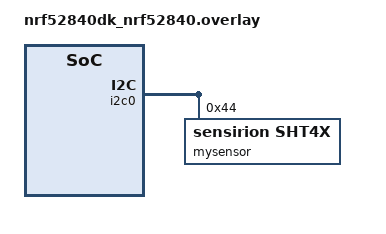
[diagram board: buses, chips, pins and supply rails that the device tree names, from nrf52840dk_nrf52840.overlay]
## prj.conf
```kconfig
# Logging configs
CONFIG_LOG=y

# Bluetooth configs
CONFIG_BT=y
CONFIG_BT_OBSERVER=y
CONFIG_BT_BROADCASTER=y
CONFIG_BT_EXT_ADV=y
CONFIG_BT_PER_ADV_SYNC=y
CONFIG_BT_DEVICE_NAME="Endpoint"

CONFIG_BT_MAX_CONN=1
CONFIG_BT_PERIPHERAL=y
CONFIG_BT_PER_ADV_SYNC_TRANSFER_SENDER=y
CONFIG_BT_PER_ADV_SYNC_TRANSFER_RECEIVER=y

CONFIG_BT_PER_ADV_SYNC_RSP=y
CONFIG_BT_PER_ADV_SYNC_BUF_SIZE=247

# PM (Power Management) configs
CONFIG_PM_DEVICE=y

# Display configs
CONFIG_DISPLAY=y
CONFIG_DISPLAY_LOG_LEVEL_ERR=y

#LVGL configs
CONFIG_LVGL=y
CONFIG_LV_MEM_CUSTOM=y
CONFIG_LV_USE_QRCODE=y
CONFIG_LV_USE_LOG=y
CONFIG_LV_USE_LABEL=y
CONFIG_LV_USE_BTN=y
CONFIG_LV_USE_ARC=y
CONFIG_LV_USE_IMG=y
CONFIG_LV_USE_MONKEY=y
CONFIG_LV_FONT_MONTSERRAT_14=y
CONFIG_LV_FONT_MONTSERRAT_20=y
CONFIG_LV_Z_VDB_SIZE=100
CONFIG_LV_Z_MEM_POOL_SIZE=16384

# Sensor configs
CONFIG_CBPRINTF_FP_SUPPORT=y
CONFIG_I2C=y
CONFIG_SENSOR=y
CONFIG_SHT4X=y
```

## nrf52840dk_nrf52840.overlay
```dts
// To get started, press Ctrl+Space (or Option+Esc) to bring up the completion menu and view the available nodes.

// You can also use the buttons in the sidebar to perform actions on nodes.
// Actions currently available include:

// * Enabling / disabling the node
// * Adding the bus to a bus
// * Removing the node
// * Connecting ADC channels

// For more help, browse the DeviceTree documentation at https://docs.zephyrproject.org/latest/guides/dts/index.html
// You can also visit the nRF DeviceTree extension documentation at https://nrfconnect.github.io/vscode-nrf-connect/devicetree/nrfdevicetree.html

&i2c0 {
    mysensor: sht4x@44 {
        compatible = "sensirion,sht4x";
        repeatability = <2>;
        reg = <0x44>;
    };
};
```

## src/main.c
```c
/*
 * Copyright (c) 2023 Nordic Semiconductor ASA
 *
 * SPDX-License-Identifier: Apache-2.0
 */

#include <zephyr/bluetooth/bluetooth.h>
#include <zephyr/bluetooth/conn.h>
#include <zephyr/bluetooth/gatt.h>
#include <zephyr/bluetooth/uuid.h>
#include <zephyr/sys/util.h>

#include <zephyr/device.h>
#include <zephyr/devicetree.h>
#include <zephyr/drivers/display.h>
#include <zephyr/drivers/gpio.h>
#include <lvgl.h>
#include <stdio.h>
#include <string.h>
#include <zephyr/kernel.h>
#include <lvgl_input_device.h>
#include <zephyr/pm/device.h>

// Sensor-related includes
#include <zephyr/drivers/sensor.h>
#include <zephyr/drivers/sensor/sht4x.h>

static const struct device *sht = DEVICE_DT_GET_ANY(sensirion_sht4x);

typedef struct sensor_data_s
{
    // Temperature value
    struct sensor_value temp;

    // Humidity value
    struct sensor_value humidity;
} sensor_data_t;

static sensor_data_t sensor_data; 

#define LOG_LEVEL CONFIG_LOG_DEFAULT_LEVEL
#include <zephyr/logging/log.h>
LOG_MODULE_REGISTER(app);

#define NAME_LEN 30

static K_SEM_DEFINE(sem_per_adv, 0, 1);
static K_SEM_DEFINE(sem_per_sync, 0, 1);
static K_SEM_DEFINE(sem_per_sync_lost, 0, 1);

static struct bt_conn *default_conn;
static struct bt_le_per_adv_sync *default_sync;
static struct __packed {
	uint8_t subevent;
	uint8_t response_slot;

} pawr_timing;

// Company ID for Novel Bits (used for the manufacturer data)
#define NOVEL_BITS_COMPANY_ID 0x08D3

// Increment this value for each device
#define DEVICE_ID 0x01

// Sensor-related variables
static bool adv_started;

// Advertising data
static const struct bt_data ad[] = {
    BT_DATA_BYTES(BT_DATA_NAME_COMPLETE, 'N', 'o', 'v', 'e', 'l', ' ', 'B', 'i', 't', 's'),
	BT_DATA_BYTES(BT_DATA_MANUFACTURER_DATA,
                  (NOVEL_BITS_COMPANY_ID & 0xFF),
                  ((NOVEL_BITS_COMPANY_ID >> 8) & 0xFF),
                  DEVICE_ID)
};

// Display Power Management
int suspend_display(const struct device *display_dev,
		    const struct device *display_bus_dev)
{
	int ret;

	ret = pm_device_action_run(display_dev, PM_DEVICE_ACTION_SUSPEND);
	if (ret < 0) {
		LOG_ERR("Could not suspend the display");
		return ret;
	}

	ret = pm_device_action_run(display_bus_dev, PM_DEVICE_ACTION_SUSPEND);
	if (ret < 0) {
		LOG_ERR("Could not suspend the display bus");
		return ret;
	}

	return 0;
}

int resume_display(const struct device *display_dev,
		   const struct device *display_bus_dev)
{
	int ret;

	ret = pm_device_action_run(display_dev, PM_DEVICE_ACTION_RESUME);
	if (ret < 0) {
		LOG_ERR("Could not resume the display");
		return ret;
	}

	ret = pm_device_action_run(display_bus_dev, PM_DEVICE_ACTION_RESUME);
	if (ret < 0) {
		LOG_ERR("Could not resume the display bus");
		return ret;
	}

	return 0;
}

void sensor_capture_data(void)
{
    if (sensor_sample_fetch(sht)) {
        printk("Failed to fetch sample from SHT4X device\n");
        return;
    }

    sensor_channel_get(sht, SENSOR_CHAN_AMBIENT_TEMP, &sensor_data.temp);
    sensor_channel_get(sht, SENSOR_CHAN_HUMIDITY, &sensor_data.humidity);
}

static void sync_cb(struct bt_le_per_adv_sync *sync, struct bt_le_per_adv_sync_synced_info *info)
{
	struct bt_le_per_adv_sync_subevent_params params;
	uint8_t subevents[1];
	char le_addr[BT_ADDR_LE_STR_LEN];
	int err;

	bt_addr_le_to_str(info->addr, le_addr, sizeof(le_addr));
	printk("Synced to %s with %d subevents\n", le_addr, info->num_subevents);

	default_sync = sync;

	params.properties = 0;
	params.num_subevents = 1;
	params.subevents = subevents;
	subevents[0] = pawr_timing.subevent;

	err = bt_le_per_adv_sync_subevent(sync, &params);
	if (err) {
		printk("Failed to set subevents to sync to (err %d)\n", err);
	}

	k_sem_give(&sem_per_sync);
}

static void term_cb(struct bt_le_per_adv_sync *sync,
		    const struct bt_le_per_adv_sync_term_info *info)
{
	char le_addr[BT_ADDR_LE_STR_LEN];

	bt_addr_le_to_str(info->addr, le_addr, sizeof(le_addr));

	printk("Sync terminated (reason %d)\n", info->reason);

	default_sync = NULL;

	k_sem_give(&sem_per_sync_lost);
}

static bool print_ad_field(struct bt_data *data, void *user_data)
{
	ARG_UNUSED(user_data);

	printk("    0x%02X: ", data->type);
	for (size_t i = 0; i < data->data_len; i++) {
		printk("%02X", data->data[i]);
	}

	printk("\n");

	return true;
}

int bt_le_per_adv_set_response_data(struct bt_le_per_adv_sync *per_adv_sync,
				    const struct bt_le_per_adv_response_params *params,
				    const struct net_buf_simple *data);

static struct bt_le_per_adv_response_params rsp_params;

NET_BUF_SIMPLE_DEFINE_STATIC(rsp_buf, 247);

static void recv_cb(struct bt_le_per_adv_sync *sync,
		    const struct bt_le_per_adv_sync_recv_info *info, struct net_buf_simple *buf)
{
	int err;

	if (buf && buf->len) {
		/* Echo the data back to the advertiser */
		net_buf_simple_reset(&rsp_buf);
        net_buf_simple_add_mem(&rsp_buf, &sensor_data, sizeof(sensor_data));

		rsp_params.request_event = info->periodic_event_counter;
		rsp_params.request_subevent = info->subevent;

		/* Respond in current subevent and assigned response slot */
		rsp_params.response_subevent = info->subevent;
		rsp_params.response_slot = pawr_timing.response_slot;

		printk("Indication: subevent %d, responding in slot %d\n", info->subevent,
		       pawr_timing.response_slot);
		bt_data_parse(buf, print_ad_field, NULL);

		err = bt_le_per_adv_set_response_data(sync, &rsp_params, &rsp_buf);
		if (err) {
			printk("Failed to send response (err %d)\n", err);
		}
	} else if (buf) {
		printk("Received empty indication: subevent %d\n", info->subevent);
	} else {
		printk("Failed to receive indication: subevent %d\n", info->subevent);
	}
}

static struct bt_le_per_adv_sync_cb sync_callbacks = {
	.synced = sync_cb,
	.term = term_cb,
	.recv = recv_cb,
};

static struct bt_uuid_128 pawr_svc_uuid =
	BT_UUID_INIT_128(BT_UUID_128_ENCODE(0x12345678, 0x1234, 0x5678, 0x1234, 0x56789abcdef0));
static struct bt_uuid_128 pawr_char_uuid =
	BT_UUID_INIT_128(BT_UUID_128_ENCODE(0x12345678, 0x1234, 0x5678, 0x1234, 0x56789abcdef1));

static ssize_t write_timing(struct bt_conn *conn, const struct bt_gatt_attr *attr, const void *buf,
			    uint16_t len, uint16_t offset, uint8_t flags)
{
	if (offset) {
		return BT_GATT_ERR(BT_ATT_ERR_INVALID_OFFSET);
	}

	if (len != sizeof(pawr_timing)) {
		return BT_GATT_ERR(BT_ATT_ERR_INVALID_ATTRIBUTE_LEN);
	}

	memcpy(&pawr_timing, buf, len);

	printk("New timing: subevent %d, response slot %d\n", pawr_timing.subevent,
	       pawr_timing.response_slot);

	struct bt_le_per_adv_sync_subevent_params params;
	uint8_t subevents[1];
	int err;

	params.properties = 0;
	params.num_subevents = 1;
	params.subevents = subevents;
	subevents[0] = pawr_timing.subevent;

	if (default_sync) {
		err = bt_le_per_adv_sync_subevent(default_sync, &params);
		if (err) {
			printk("Failed to set subevents to sync to (err %d)\n", err);
		}
	} else {
		printk("Not synced yet\n");
	}

	return len;
}

BT_GATT_SERVICE_DEFINE(pawr_svc, BT_GATT_PRIMARY_SERVICE(&pawr_svc_uuid.uuid),
		       BT_GATT_CHARACTERISTIC(&pawr_char_uuid.uuid, BT_GATT_CHRC_WRITE,
					      BT_GATT_PERM_WRITE, NULL, write_timing,
					      &pawr_timing));

void connected(struct bt_conn *conn, uint8_t err)
{
	printk("Connected (err 0x%02X)\n", err);

	if (err) {
		default_conn = NULL;

		return;
	}

	default_conn = bt_conn_ref(conn);
    adv_started = false;
}

void disconnected(struct bt_conn *conn, uint8_t reason)
{
	bt_conn_unref(default_conn);
	default_conn = NULL;

	printk("Disconnected (reason 0x%02X)\n", reason);
}

BT_CONN_CB_DEFINE(conn_cb) = {
	.connected = connected,
	.disconnected = disconnected,
};

int main(void)
{
	int err;
	static lv_style_t style1;
	lv_style_init(&style1);
	struct bt_le_per_adv_sync_transfer_param past_param;
	const struct device *display_dev;
	const struct device *display_bus_dev;
	char text[200];

	display_dev = DEVICE_DT_GET(DT_CHOSEN(zephyr_display));
	display_bus_dev = DEVICE_DT_GET(DT_PARENT(DT_CHOSEN(zephyr_display)));
	if (!device_is_ready(display_dev)) {
		LOG_ERR("Device not ready, aborting test");
		return 0;
	}

	LOG_INF("Display device: %s", display_dev->name);

    lv_obj_t * obj = lv_label_create(lv_scr_act());
    lv_label_set_text(obj, "Initializing System...");
	lv_style_set_text_font(&style1, &lv_font_montserrat_20);
	lv_obj_add_style(obj, &style1, LV_PART_MAIN | LV_STATE_DEFAULT);
	lv_obj_set_style_text_color( obj, lv_color_black(), LV_PART_MAIN | LV_STATE_DEFAULT);
    lv_obj_center(obj);
	lv_task_handler();
	suspend_display(display_dev, display_bus_dev);

	printk("Starting Periodic Advertising with Responses Synchronization Demo\n");

	err = bt_enable(NULL);
	if (err) {
		printk("Bluetooth init failed (err %d)\n", err);

		return 0;
	}

	bt_le_per_adv_sync_cb_register(&sync_callbacks);

	past_param.skip = 1;
	past_param.timeout = 1000; /* 10 seconds */
	past_param.options = BT_LE_PER_ADV_SYNC_TRANSFER_OPT_NONE;
	err = bt_le_per_adv_sync_transfer_subscribe(NULL, &past_param);
	if (err) {
		printk("PAST subscribe failed (err %d)\n", err);

		return 0;
	}

	do {
		sensor_capture_data();

		resume_display(display_dev, display_bus_dev);
		sprintf(text, "---- SENSOR DATA ----\n\n Temperature: %.2f °C\n Humidity: %0.2f %%",
			sensor_value_to_double(&sensor_data.temp),
			sensor_value_to_double(&sensor_data.humidity));
		lv_label_set_text(obj, text);
		lv_task_handler();
		suspend_display(display_dev, display_bus_dev);
		
		if (adv_started)
		{
			bt_le_adv_stop();
			adv_started = false;
		}

		err = bt_le_adv_start(
			BT_LE_ADV_PARAM(BT_LE_ADV_OPT_ONE_TIME | BT_LE_ADV_OPT_CONNECTABLE,
					BT_GAP_ADV_FAST_INT_MIN_1, BT_GAP_ADV_FAST_INT_MAX_1, NULL),
			ad, ARRAY_SIZE(ad), NULL, 0);
		if (err && err != -EALREADY) {
			printk("Advertising failed to start (err %d)\n", err);

			return 0;
		}
		adv_started = true;

		printk("Waiting for periodic sync...\n");
		err = k_sem_take(&sem_per_sync, K_SECONDS(10));
		if (err) {
			printk("Timed out while synchronizing\n");

			continue;
		}

		printk("Periodic sync established.\n");

		err = k_sem_take(&sem_per_sync_lost, K_FOREVER);
		if (err) {
			printk("failed (err %d)\n", err);

			return 0;
		}

		printk("Periodic sync lost.\n");
	} while (true);

	return 0;
}
```
